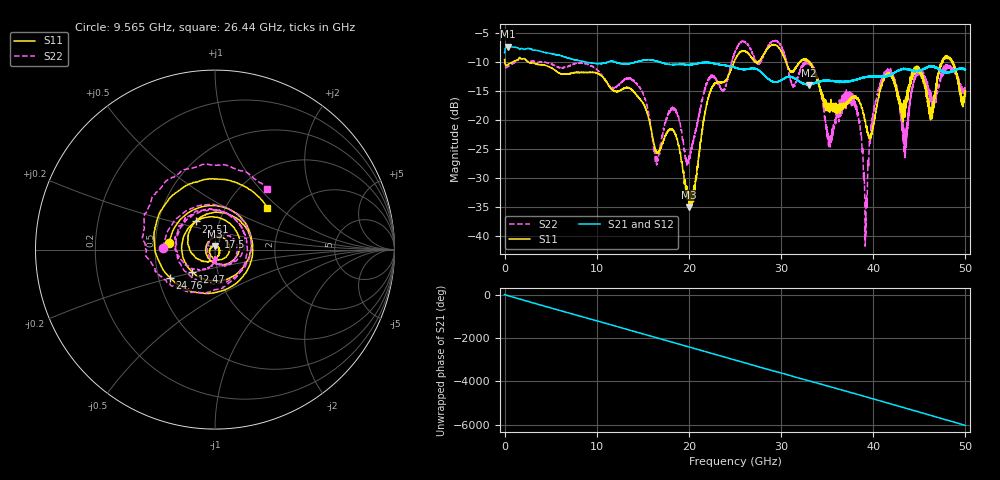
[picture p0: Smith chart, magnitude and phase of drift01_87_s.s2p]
!Created with skrf (http://scikit-rf.org).
# Hz S RI R 50.0
!freq ReS11 ImS11 ReS21 ImS21 ReS12 ImS12 ReS22 ImS22
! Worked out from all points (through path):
!   10001 points, 300 kHz to 50 GHz, reference 50 ohm
!   highest |S21| = -7.33 dB at 335.3 MHz (marker M1); lowest = -14.0 dB at 33.05 GHz (marker M2)
!   group delay of S21, straight-line fit = 335 ps
!   lowest |S11| = -35.1 dB at 20.01 GHz (marker M3), VSWR 1.04, Z = 49.9 + j1.76 ohm
!   |S11| at or under -10 dB: 2.554 GHz to 24.91 GHz (22.35 GHz wide, 163 % of centre); 30.53 GHz to 32.02 GHz (1.487 GHz wide, 4.76 % of centre); 33.07 GHz to 47.44 GHz (14.37 GHz wide, 35.7 % of centre) (the widest 3 of 25)
!   |S22| runs from -41.8 to -6.3 dB; largest |S21 - S12| = 0.011
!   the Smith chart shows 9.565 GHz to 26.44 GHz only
!   S11 on the Smith chart (normalised r, x): 9.565 GHz: 0.59, +0.05; 12.47 GHz: 0.75, -0.19; 17.5 GHz: 1.03, +0.15; 22.51 GHz: 0.77, +0.25; 24.76 GHz: 0.58, -0.20; 26.44 GHz: 1.56, +0.84
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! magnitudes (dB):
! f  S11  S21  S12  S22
! 300 kHz  -9.6  -8.4  -8.5  -9.4
! 335.3 MHz  -10.5  -7.3  -7.3  -10.8
! 8.335 GHz  -11.8  -9.8  -9.9  -10.2
! 9.565 GHz  -11.8  -10.2  -10.2  -10.8
! 12.47 GHz  -15.0  -10.2  -10.2  -13.9
! 16.67 GHz  -25.8  -10.0  -9.9  -27.0
! 17.5 GHz  -22.6  -10.3  -10.3  -20.3
! 20.01 GHz  -35.1  -10.5  -10.5  -26.5
! 22.51 GHz  -14.4  -10.2  -10.2  -12.4
! 24.76 GHz  -10.6  -10.9  -10.9  -9.3
! 25 GHz  -9.6  -11.0  -11.0  -8.3
! 26.44 GHz  -8.5  -11.2  -11.2  -7.1
! 33.05 GHz  -10.0  -14.0  -13.9  -9.9
! 33.34 GHz  -10.7  -13.8  -13.7  -10.6
! 35.25 GHz  -18.1  -13.2  -13.3  -23.4
! 37.96 GHz  -15.9  -13.1  -13.2  -17.3
! 39.17 GHz  -20.6  -12.6  -12.6  -40.3
! 40.14 GHz  -19.8  -12.5  -12.5  -17.7
! 41.67 GHz  -11.9  -12.3  -12.3  -11.6
! 43.45 GHz  -17.4  -11.2  -11.2  -23.0
! 44.89 GHz  -11.3  -11.6  -11.5  -11.7
! 50 GHz  -15.5  -11.3  -11.3  -15.1
